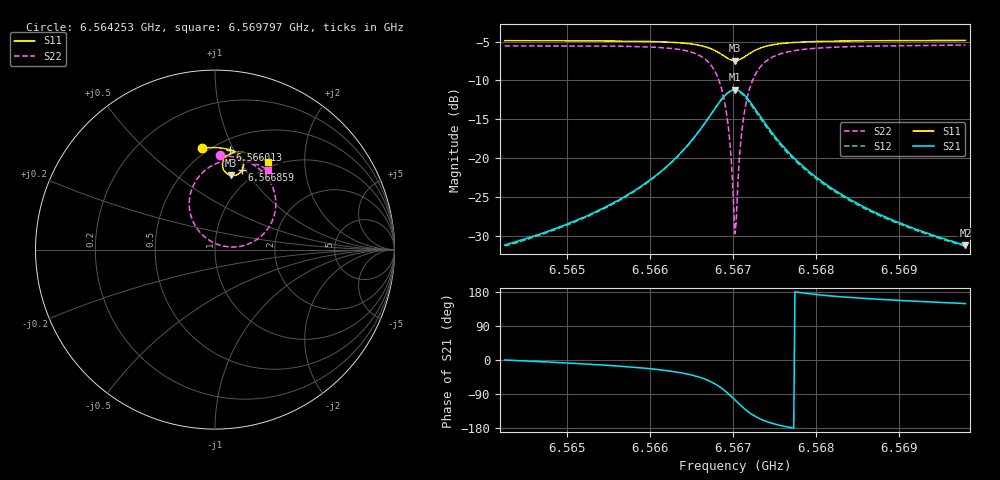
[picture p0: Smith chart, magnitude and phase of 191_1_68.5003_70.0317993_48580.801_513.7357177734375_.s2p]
#  HZ  S  RI  R  50.00
! Rohde & Schwarz Vector Network Analyzer
! Rohde-Schwarz,ZNB20-2Port,1311601062101988,3.16
! Created: UTC 3/20/2024, 4:57:06 PM
! freq[Hz]  re:S11  im:S11  re:S21  im:S21  re:S12  im:S12  re:S22  im:S22
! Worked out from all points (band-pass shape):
!   401 points, 6.564253 GHz to 6.569797 GHz, reference 50 ohm
!   highest |S21| = -11.22 dB at 6.567025 GHz (marker M1); lowest = -31.2 dB at 6.569797 GHz (marker M2)
!   |S21| within 3 dB of the highest: 6.566747 GHz to 6.567302 GHz (555 kHz wide, 0.00845 % of centre)
!   lowest |S11| = -7.5 dB at 6.567025 GHz (marker M3), VSWR 2.47, Z = 40.9 + j41.2 ohm
!   |S11| at or under -10 dB: nowhere
!   |S22| runs from -29.7 to -5.5 dB; largest |S21 - S12| = 0.013
!   S11 on the Smith chart (normalised r, x): 6.564253 GHz: 0.46, +0.77; 6.566013 GHz: 0.59, +0.97; 6.566859 GHz: 0.85, +0.96; 6.569797 GHz: 0.92, +1.33
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6.5642532e9  -0.0705 0.5648  0.0276 -4.18e-05  0.0271 -0.000511  0.0296 0.526
6.5651818e9  0.00536 0.568  0.0405 -0.00716  0.0398 -0.00773  0.1168 0.5137
6.5660133e9  0.0821 0.5561  0.0671 -0.0287  0.066 -0.0296  0.2224 0.468
6.5661104e9  0.0921 0.5526  0.0721 -0.0344  0.0711 -0.0353  0.2384 0.4565
6.5664152e9  0.1268 0.5337  0.0931 -0.0662  0.0915 -0.0676  0.2973 0.3934
6.566637e9  0.1522 0.503  0.1065 -0.1199  0.1043 -0.1221  0.3366 0.2903
6.5667617e9  0.159 0.4724  0.0993 -0.1735  0.0949 -0.1767  0.3289 0.1877
6.5668587e9  0.1505 0.4415  0.0668 -0.2266  0.0595 -0.2295  0.2714 0.0883
6.5669419e9  0.1255 0.4184  0.0072 -0.2634  -0.00369 -0.2635  0.162 0.0231
6.5669696e9  0.1137 0.4142  -0.019 -0.2691  -0.0304 -0.2672  0.1145 0.0147
6.5670112e9  0.094 0.4129  -0.0606 -0.2679  -0.0722 -0.263  0.0404 0.021
6.567025e9  0.0874 0.414  -0.0746 -0.2646  -0.0857 -0.2588  0.0162 0.0283
6.5670389e9  0.0811 0.4157  -0.088 -0.2601  -0.0989 -0.2532  -0.00667 0.0379
6.5670528e9  0.0751 0.4183  -0.1009 -0.2542  -0.1111 -0.2465  -0.0284 0.0498
6.5670943e9  0.0593 0.4294  -0.1344 -0.2303  -0.1424 -0.2205  -0.0836 0.0962
6.5671359e9  0.0484 0.4443  -0.158 -0.2003  -0.1635 -0.1894  -0.1203 0.152
6.5671914e9  0.0421 0.4655  -0.1747 -0.1582  -0.1768 -0.1474  -0.1419 0.2275
6.5672606e9  0.0443 0.4892  -0.1772 -0.1117  -0.1765 -0.1026  -0.1375 0.3085
6.5675101e9  0.0827 0.5329  -0.1343 -0.0249  -0.1314 -0.0209  -0.04 0.4536
6.5679536e9  0.1433 0.5428  -0.0784 0.0082  -0.0764 0.00948  0.0888 0.4988
6.5688821e9  0.2287 0.5215  -0.0378 0.0148  -0.037 0.015  0.2187 0.4805
6.5697968e9  0.2958 0.4886  -0.0235 0.0142  -0.023 0.0143  0.2975 0.443
